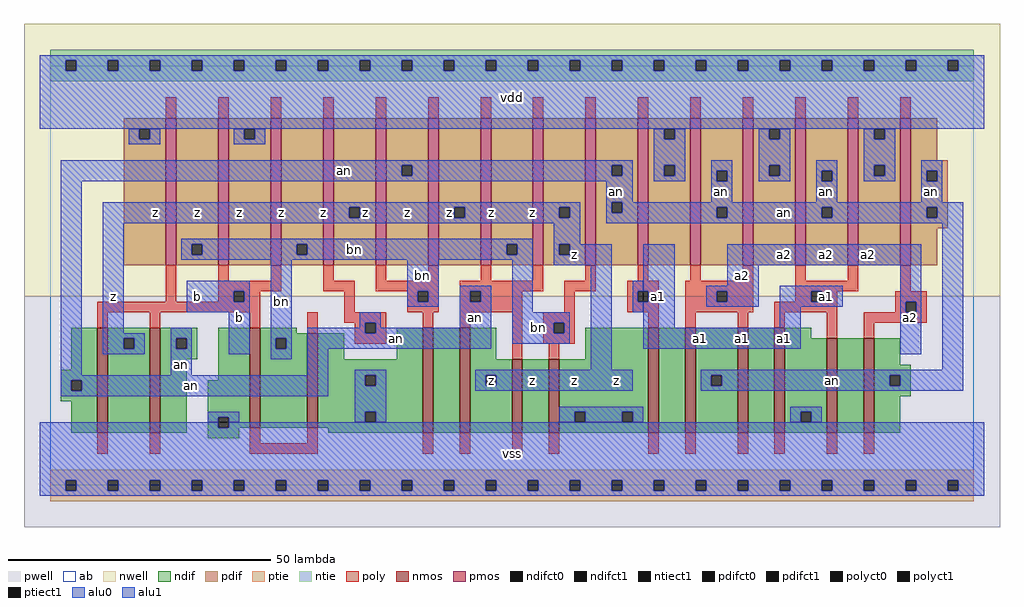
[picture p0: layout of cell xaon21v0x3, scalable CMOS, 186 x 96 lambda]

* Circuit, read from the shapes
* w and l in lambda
.subckt xaon21v0x3 a1 a2 an b bn vdd vss z
M1 z b an vss nfet w=20 l=2 m=2
M2 bn b vss vss nfet w=19 l=2
M3 vss b bn vss nfet w=18 l=2
M4 n1 bn vss vss nfet w=20 l=2
M5 z an n1 vss nfet w=20 l=2
M6 n2 an z vss nfet w=14 l=2
M7 vss bn n2 vss nfet w=14 l=2
M8 n3 a1 vss vss nfet w=20 l=2
M9 an a2 n3 vss nfet w=20 l=2
M10 n4 a2 an vss nfet w=20 l=2
M11 vss a1 n4 vss nfet w=20 l=2
M12 n5 a1 vss vss nfet w=18 l=2
M13 an a2 n5 vss nfet w=18 l=2
M14 bn b vdd vdd pfet w=28 l=2 m=3
M15 z an bn vdd pfet w=28 l=2 m=3
M16 an bn z vdd pfet w=28 l=2 m=3
M17 vdd a1 an vdd pfet w=28 l=2 m=3
M18 an a2 vdd vdd pfet w=28 l=2 m=3
.ends

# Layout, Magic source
magic
tech scmos
<< ab >>
rect 0 0 176 80
<< nwell >>
rect -5 36 181 88
<< pwell >>
rect -5 -8 181 36
<< poly >>
rect 22 70 24 74
rect 32 70 34 74
rect 42 70 44 74
rect 52 70 54 74
rect 62 70 64 74
rect 72 70 74 74
rect 82 70 84 74
rect 92 70 94 74
rect 102 70 104 74
rect 112 70 114 74
rect 122 70 124 74
rect 132 70 134 74
rect 142 70 144 74
rect 152 70 154 74
rect 162 70 164 74
rect 22 35 24 42
rect 32 39 34 42
rect 42 39 44 42
rect 32 37 44 39
rect 52 39 54 42
rect 62 39 64 42
rect 72 39 74 42
rect 82 39 84 42
rect 92 39 94 42
rect 102 39 104 42
rect 112 39 114 42
rect 122 39 124 42
rect 132 39 134 42
rect 52 37 58 39
rect 62 37 74 39
rect 32 35 35 37
rect 37 35 40 37
rect 9 33 40 35
rect 56 33 58 37
rect 68 35 70 37
rect 72 35 74 37
rect 68 33 74 35
rect 78 37 94 39
rect 98 37 104 39
rect 110 37 116 39
rect 78 35 80 37
rect 82 35 90 37
rect 78 33 90 35
rect 98 33 100 37
rect 110 35 112 37
rect 114 35 116 37
rect 110 33 116 35
rect 9 30 11 33
rect 19 30 21 33
rect 38 30 40 33
rect 49 29 51 33
rect 56 31 64 33
rect 58 29 60 31
rect 62 29 64 31
rect 71 30 73 33
rect 78 30 80 33
rect 58 27 64 29
rect 9 6 11 10
rect 19 6 21 10
rect 38 8 40 11
rect 49 8 51 11
rect 88 24 90 33
rect 94 31 100 33
rect 94 29 96 31
rect 98 29 100 31
rect 114 30 116 33
rect 121 37 134 39
rect 121 35 127 37
rect 129 35 134 37
rect 142 39 144 42
rect 152 39 154 42
rect 142 37 154 39
rect 162 37 164 42
rect 142 35 145 37
rect 147 35 150 37
rect 121 33 134 35
rect 138 33 150 35
rect 161 35 167 37
rect 161 33 163 35
rect 165 33 167 35
rect 121 30 123 33
rect 131 30 133 33
rect 138 30 140 33
rect 94 27 100 29
rect 95 24 97 27
rect 148 28 150 33
rect 155 31 167 33
rect 155 28 157 31
rect 38 6 51 8
rect 71 6 73 10
rect 78 6 80 10
rect 88 6 90 10
rect 95 6 97 10
rect 114 6 116 10
rect 121 6 123 10
rect 131 6 133 10
rect 138 6 140 10
rect 148 6 150 10
rect 155 6 157 10
<< ndif >>
rect 4 22 9 30
rect 2 20 9 22
rect 2 18 4 20
rect 6 18 9 20
rect 2 16 9 18
rect 4 10 9 16
rect 11 28 19 30
rect 11 26 14 28
rect 16 26 19 28
rect 11 10 19 26
rect 21 28 28 30
rect 21 26 24 28
rect 26 26 28 28
rect 21 24 28 26
rect 21 10 26 24
rect 32 20 38 30
rect 30 13 38 20
rect 30 11 32 13
rect 34 11 38 13
rect 40 29 47 30
rect 40 28 49 29
rect 40 26 43 28
rect 45 26 49 28
rect 40 11 49 26
rect 51 24 56 29
rect 66 24 71 30
rect 51 21 71 24
rect 51 19 60 21
rect 62 19 71 21
rect 51 14 71 19
rect 51 12 60 14
rect 62 12 71 14
rect 51 11 71 12
rect 30 9 36 11
rect 53 10 71 11
rect 73 10 78 30
rect 80 24 85 30
rect 102 24 114 30
rect 80 21 88 24
rect 80 19 83 21
rect 85 19 88 21
rect 80 10 88 19
rect 90 10 95 24
rect 97 14 114 24
rect 97 12 100 14
rect 102 12 109 14
rect 111 12 114 14
rect 97 10 114 12
rect 116 10 121 30
rect 123 21 131 30
rect 123 19 126 21
rect 128 19 131 21
rect 123 10 131 19
rect 133 10 138 30
rect 140 28 145 30
rect 140 14 148 28
rect 140 12 143 14
rect 145 12 148 14
rect 140 10 148 12
rect 150 10 155 28
rect 157 23 162 28
rect 157 21 164 23
rect 157 19 160 21
rect 162 19 164 21
rect 157 17 164 19
rect 157 10 162 17
<< pdif >>
rect 14 68 22 70
rect 14 66 17 68
rect 19 66 22 68
rect 14 42 22 66
rect 24 46 32 70
rect 24 44 27 46
rect 29 44 32 46
rect 24 42 32 44
rect 34 68 42 70
rect 34 66 37 68
rect 39 66 42 68
rect 34 42 42 66
rect 44 46 52 70
rect 44 44 47 46
rect 49 44 52 46
rect 44 42 52 44
rect 54 53 62 70
rect 54 51 57 53
rect 59 51 62 53
rect 54 42 62 51
rect 64 61 72 70
rect 64 59 67 61
rect 69 59 72 61
rect 64 42 72 59
rect 74 53 82 70
rect 74 51 77 53
rect 79 51 82 53
rect 74 42 82 51
rect 84 46 92 70
rect 84 44 87 46
rect 89 44 92 46
rect 84 42 92 44
rect 94 53 102 70
rect 94 51 97 53
rect 99 51 102 53
rect 94 46 102 51
rect 94 44 97 46
rect 99 44 102 46
rect 94 42 102 44
rect 104 61 112 70
rect 104 59 107 61
rect 109 59 112 61
rect 104 54 112 59
rect 104 52 107 54
rect 109 52 112 54
rect 104 42 112 52
rect 114 68 122 70
rect 114 66 117 68
rect 119 66 122 68
rect 114 61 122 66
rect 114 59 117 61
rect 119 59 122 61
rect 114 42 122 59
rect 124 60 132 70
rect 124 58 127 60
rect 129 58 132 60
rect 124 53 132 58
rect 124 51 127 53
rect 129 51 132 53
rect 124 42 132 51
rect 134 68 142 70
rect 134 66 137 68
rect 139 66 142 68
rect 134 61 142 66
rect 134 59 137 61
rect 139 59 142 61
rect 134 42 142 59
rect 144 60 152 70
rect 144 58 147 60
rect 149 58 152 60
rect 144 53 152 58
rect 144 51 147 53
rect 149 51 152 53
rect 144 42 152 51
rect 154 68 162 70
rect 154 66 157 68
rect 159 66 162 68
rect 154 61 162 66
rect 154 59 157 61
rect 159 59 162 61
rect 154 42 162 59
rect 164 62 169 70
rect 164 60 171 62
rect 164 58 167 60
rect 169 58 171 60
rect 164 53 171 58
rect 164 51 167 53
rect 169 51 171 53
rect 164 49 171 51
rect 164 42 169 49
<< alu1 >>
rect -2 81 178 82
rect -2 79 3 81
rect 5 79 11 81
rect 13 79 19 81
rect 21 79 27 81
rect 29 79 35 81
rect 37 79 43 81
rect 45 79 51 81
rect 53 79 59 81
rect 61 79 67 81
rect 69 79 75 81
rect 77 79 83 81
rect 85 79 91 81
rect 93 79 99 81
rect 101 79 107 81
rect 109 79 115 81
rect 117 79 123 81
rect 125 79 131 81
rect 133 79 139 81
rect 141 79 147 81
rect 149 79 155 81
rect 157 79 163 81
rect 165 79 171 81
rect 173 79 178 81
rect -2 68 178 79
rect 10 53 101 54
rect 10 51 57 53
rect 59 51 77 53
rect 79 51 97 53
rect 99 51 101 53
rect 10 50 101 51
rect 10 29 14 50
rect 26 37 38 39
rect 26 35 35 37
rect 37 35 38 37
rect 26 33 38 35
rect 10 28 18 29
rect 10 26 14 28
rect 16 26 18 28
rect 10 25 18 26
rect 34 25 38 33
rect 96 46 101 50
rect 96 44 97 46
rect 99 44 107 46
rect 96 42 107 44
rect 103 22 107 42
rect 113 37 119 46
rect 129 42 166 46
rect 129 38 135 42
rect 114 35 119 37
rect 113 30 119 35
rect 125 37 135 38
rect 125 35 127 37
rect 129 35 135 37
rect 125 34 135 35
rect 139 37 151 38
rect 139 35 145 37
rect 147 35 151 37
rect 139 34 151 35
rect 162 35 166 42
rect 139 30 143 34
rect 113 26 143 30
rect 162 33 163 35
rect 165 33 166 35
rect 162 25 166 33
rect 81 21 111 22
rect 81 19 83 21
rect 85 19 111 21
rect 81 18 111 19
rect -2 11 32 12
rect 34 11 178 12
rect -2 1 178 11
rect -2 -1 3 1
rect 5 -1 11 1
rect 13 -1 19 1
rect 21 -1 27 1
rect 29 -1 35 1
rect 37 -1 43 1
rect 45 -1 51 1
rect 53 -1 59 1
rect 61 -1 67 1
rect 69 -1 75 1
rect 77 -1 83 1
rect 85 -1 91 1
rect 93 -1 99 1
rect 101 -1 107 1
rect 109 -1 115 1
rect 117 -1 123 1
rect 125 -1 131 1
rect 133 -1 139 1
rect 141 -1 147 1
rect 149 -1 155 1
rect 157 -1 163 1
rect 165 -1 171 1
rect 173 -1 178 1
rect -2 -2 178 -1
<< ptie >>
rect 0 1 176 3
rect 0 -1 3 1
rect 5 -1 11 1
rect 13 -1 19 1
rect 21 -1 27 1
rect 29 -1 35 1
rect 37 -1 43 1
rect 45 -1 51 1
rect 53 -1 59 1
rect 61 -1 67 1
rect 69 -1 75 1
rect 77 -1 83 1
rect 85 -1 91 1
rect 93 -1 99 1
rect 101 -1 107 1
rect 109 -1 115 1
rect 117 -1 123 1
rect 125 -1 131 1
rect 133 -1 139 1
rect 141 -1 147 1
rect 149 -1 155 1
rect 157 -1 163 1
rect 165 -1 171 1
rect 173 -1 176 1
rect 0 -3 176 -1
<< ntie >>
rect 0 81 176 83
rect 0 79 3 81
rect 5 79 11 81
rect 13 79 19 81
rect 21 79 27 81
rect 29 79 35 81
rect 37 79 43 81
rect 45 79 51 81
rect 53 79 59 81
rect 61 79 67 81
rect 69 79 75 81
rect 77 79 83 81
rect 85 79 91 81
rect 93 79 99 81
rect 101 79 107 81
rect 109 79 115 81
rect 117 79 123 81
rect 125 79 131 81
rect 133 79 139 81
rect 141 79 147 81
rect 149 79 155 81
rect 157 79 163 81
rect 165 79 171 81
rect 173 79 176 81
rect 0 77 176 79
<< nmos >>
rect 9 10 11 30
rect 19 10 21 30
rect 38 11 40 30
rect 49 11 51 29
rect 71 10 73 30
rect 78 10 80 30
rect 88 10 90 24
rect 95 10 97 24
rect 114 10 116 30
rect 121 10 123 30
rect 131 10 133 30
rect 138 10 140 30
rect 148 10 150 28
rect 155 10 157 28
<< pmos >>
rect 22 42 24 70
rect 32 42 34 70
rect 42 42 44 70
rect 52 42 54 70
rect 62 42 64 70
rect 72 42 74 70
rect 82 42 84 70
rect 92 42 94 70
rect 102 42 104 70
rect 112 42 114 70
rect 122 42 124 70
rect 132 42 134 70
rect 142 42 144 70
rect 152 42 154 70
rect 162 42 164 70
<< polyct0 >>
rect 70 35 72 37
rect 80 35 82 37
rect 112 35 113 37
rect 60 29 62 31
rect 96 29 98 31
<< polyct1 >>
rect 35 35 37 37
rect 113 35 114 37
rect 127 35 129 37
rect 145 35 147 37
rect 163 33 165 35
<< ndifct0 >>
rect 4 18 6 20
rect 24 26 26 28
rect 32 12 34 13
rect 43 26 45 28
rect 60 19 62 21
rect 60 12 62 14
rect 100 12 102 14
rect 109 12 111 14
rect 126 19 128 21
rect 143 12 145 14
rect 160 19 162 21
<< ndifct1 >>
rect 14 26 16 28
rect 32 11 34 12
rect 83 19 85 21
<< ntiect1 >>
rect 3 79 5 81
rect 11 79 13 81
rect 19 79 21 81
rect 27 79 29 81
rect 35 79 37 81
rect 43 79 45 81
rect 51 79 53 81
rect 59 79 61 81
rect 67 79 69 81
rect 75 79 77 81
rect 83 79 85 81
rect 91 79 93 81
rect 99 79 101 81
rect 107 79 109 81
rect 115 79 117 81
rect 123 79 125 81
rect 131 79 133 81
rect 139 79 141 81
rect 147 79 149 81
rect 155 79 157 81
rect 163 79 165 81
rect 171 79 173 81
<< ptiect1 >>
rect 3 -1 5 1
rect 11 -1 13 1
rect 19 -1 21 1
rect 27 -1 29 1
rect 35 -1 37 1
rect 43 -1 45 1
rect 51 -1 53 1
rect 59 -1 61 1
rect 67 -1 69 1
rect 75 -1 77 1
rect 83 -1 85 1
rect 91 -1 93 1
rect 99 -1 101 1
rect 107 -1 109 1
rect 115 -1 117 1
rect 123 -1 125 1
rect 131 -1 133 1
rect 139 -1 141 1
rect 147 -1 149 1
rect 155 -1 157 1
rect 163 -1 165 1
rect 171 -1 173 1
<< pdifct0 >>
rect 17 66 19 68
rect 27 44 29 46
rect 37 66 39 68
rect 47 44 49 46
rect 67 59 69 61
rect 87 44 89 46
rect 107 59 109 61
rect 107 52 109 54
rect 117 66 119 68
rect 117 59 119 61
rect 127 58 129 60
rect 127 51 129 53
rect 137 66 139 68
rect 137 59 139 61
rect 147 58 149 60
rect 147 51 149 53
rect 157 66 159 68
rect 157 59 159 61
rect 167 58 169 60
rect 167 51 169 53
<< pdifct1 >>
rect 57 51 59 53
rect 77 51 79 53
rect 97 51 99 53
rect 97 44 99 46
<< alu0 >>
rect 15 66 17 68
rect 19 66 21 68
rect 15 65 21 66
rect 35 66 37 68
rect 39 66 41 68
rect 35 65 41 66
rect 115 66 117 68
rect 119 66 121 68
rect 2 61 111 62
rect 2 59 67 61
rect 69 59 107 61
rect 109 59 111 61
rect 2 58 111 59
rect 115 61 121 66
rect 135 66 137 68
rect 139 66 141 68
rect 115 59 117 61
rect 119 59 121 61
rect 115 58 121 59
rect 126 60 130 62
rect 126 58 127 60
rect 129 58 130 60
rect 135 61 141 66
rect 155 66 157 68
rect 159 66 161 68
rect 135 59 137 61
rect 139 59 141 61
rect 135 58 141 59
rect 146 60 150 62
rect 146 58 147 60
rect 149 58 150 60
rect 155 61 161 66
rect 155 59 157 61
rect 159 59 161 61
rect 155 58 161 59
rect 166 60 170 62
rect 166 58 167 60
rect 169 58 170 60
rect 2 21 6 58
rect 106 54 111 58
rect 126 54 130 58
rect 146 54 150 58
rect 166 54 170 58
rect 106 52 107 54
rect 109 53 174 54
rect 109 52 127 53
rect 106 51 127 52
rect 129 51 147 53
rect 149 51 167 53
rect 169 51 174 53
rect 106 50 174 51
rect 25 46 92 47
rect 25 44 27 46
rect 29 44 47 46
rect 49 44 87 46
rect 89 44 92 46
rect 25 43 92 44
rect 23 28 27 30
rect 23 26 24 28
rect 26 26 27 28
rect 23 21 27 26
rect 42 28 46 43
rect 68 37 74 43
rect 68 35 70 37
rect 72 35 74 37
rect 68 34 74 35
rect 78 37 84 38
rect 78 35 80 37
rect 82 35 84 37
rect 59 31 63 33
rect 59 30 60 31
rect 42 26 43 28
rect 45 26 46 28
rect 42 24 46 26
rect 49 29 60 30
rect 62 30 63 31
rect 78 30 84 35
rect 62 29 84 30
rect 49 26 84 29
rect 88 33 92 43
rect 88 31 99 33
rect 88 29 96 31
rect 98 29 99 31
rect 88 27 99 29
rect 49 21 53 26
rect 111 37 113 39
rect 111 35 112 37
rect 111 33 113 35
rect 170 22 174 50
rect 2 20 53 21
rect 2 18 4 20
rect 6 18 53 20
rect 2 17 53 18
rect 58 21 64 22
rect 58 19 60 21
rect 62 19 64 21
rect 58 14 64 19
rect 124 21 174 22
rect 124 19 126 21
rect 128 19 160 21
rect 162 19 174 21
rect 124 18 174 19
rect 30 13 36 14
rect 30 12 32 13
rect 34 12 36 13
rect 58 12 60 14
rect 62 12 64 14
rect 97 14 113 15
rect 97 12 100 14
rect 102 12 109 14
rect 111 12 113 14
rect 141 14 147 15
rect 141 12 143 14
rect 145 12 147 14
<< labels >>
rlabel alu0 25 23 25 23 6 an
rlabel alu0 27 19 27 19 6 an
rlabel alu0 44 35 44 35 6 bn
rlabel alu0 66 28 66 28 6 an
rlabel alu0 81 32 81 32 6 an
rlabel alu0 93 30 93 30 6 bn
rlabel alu0 71 40 71 40 6 bn
rlabel alu0 58 45 58 45 6 bn
rlabel alu0 128 56 128 56 6 an
rlabel alu0 108 56 108 56 6 an
rlabel alu0 56 60 56 60 6 an
rlabel alu0 149 20 149 20 6 an
rlabel alu0 148 56 148 56 6 an
rlabel alu0 168 56 168 56 6 an
rlabel alu0 140 52 140 52 6 an
rlabel alu1 28 36 28 36 6 b
rlabel alu1 12 36 12 36 6 z
rlabel alu1 20 52 20 52 6 z
rlabel alu1 28 52 28 52 6 z
rlabel alu1 36 32 36 32 6 b
rlabel alu1 44 52 44 52 6 z
rlabel alu1 52 52 52 52 6 z
rlabel alu1 60 52 60 52 6 z
rlabel alu1 36 52 36 52 6 z
rlabel alu1 88 6 88 6 6 vss
rlabel alu1 100 20 100 20 6 z
rlabel ndifct1 84 20 84 20 6 z
rlabel alu1 92 20 92 20 6 z
rlabel alu1 100 44 100 44 6 z
rlabel alu1 76 52 76 52 6 z
rlabel alu1 84 52 84 52 6 z
rlabel alu1 92 52 92 52 6 z
rlabel alu1 68 52 68 52 6 z
rlabel alu1 88 74 88 74 6 vdd
rlabel alu1 108 20 108 20 6 z
rlabel alu1 124 28 124 28 6 a1
rlabel alu1 132 28 132 28 6 a1
rlabel alu1 140 28 140 28 6 a1
rlabel alu1 132 40 132 40 6 a2
rlabel alu1 140 44 140 44 6 a2
rlabel alu1 116 36 116 36 6 a1
rlabel alu1 164 32 164 32 6 a2
rlabel alu1 148 36 148 36 6 a1
rlabel alu1 148 44 148 44 6 a2
rlabel alu1 156 44 156 44 6 a2
<< end >>
